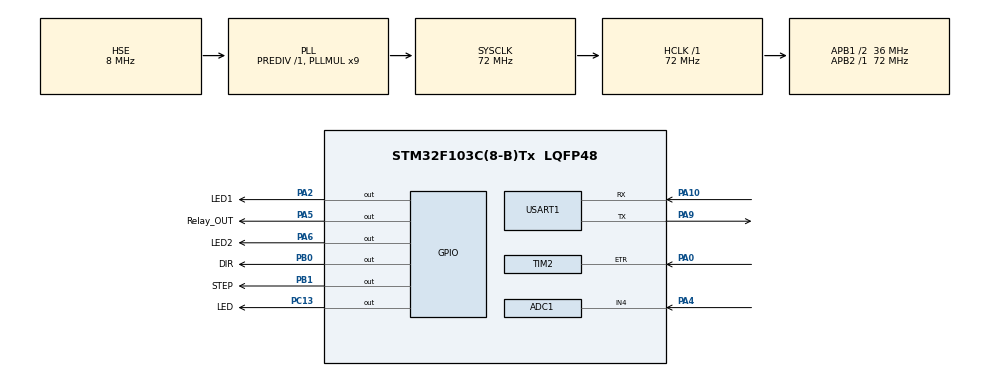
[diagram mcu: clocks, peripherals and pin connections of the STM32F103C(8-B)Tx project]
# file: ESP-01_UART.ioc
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ADC1.Channel-1\#ChannelRegularConversion=ADC_CHANNEL_4
ADC1.ContinuousConvMode=DISABLE
ADC1.NbrOfConversionFlag=1
ADC1.Rank-1\#ChannelRegularConversion=1
ADC1.SamplingTime-1\#ChannelRegularConversion=ADC_SAMPLETIME_1CYCLE_5
ADC1.master=1
Dma.Request0=USART1_TX
Dma.USART1_TX.0.Direction=DMA_MEMORY_TO_PERIPH
Dma.USART1_TX.0.Instance=DMA1_Channel4
Dma.USART1_TX.0.MemDataAlignment=DMA_MDATAALIGN_BYTE
Dma.USART1_TX.0.MemInc=DMA_MINC_ENABLE
Dma.USART1_TX.0.Mode=DMA_NORMAL
Dma.USART1_TX.0.PeriphDataAlignment=DMA_PDATAALIGN_BYTE
Dma.USART1_TX.0.PeriphInc=DMA_PINC_DISABLE
Dma.USART1_TX.0.Priority=DMA_PRIORITY_MEDIUM
FREERTOS.BinarySemaphores01=myBinarySem01,Dynamic,NULL
FREERTOS.Queues01=myQueue01,16,uint8_t,0,Dynamic,NULL,NULL;myQueue02,16,uint8_t,0,Dynamic,NULL,NULL
FREERTOS.Tasks01=defaultTask,24,128,StartDefaultTask,Default,NULL,Dynamic,NULL,NULL;myTaskUART,24,128,StartTaskUART,Default,NULL,Dynamic,NULL,NULL;myTaskMotor,24,128,StartTaskMOTOR,Default,NULL,Dynamic,NULL,NULL;myTaskPMT,24,128,StartTaskPMT,Default,NULL,Dynamic,NULL,NULL
FREERTOS.configCHECK_FOR_STACK_OVERFLOW=2
FREERTOS.configTOTAL_HEAP_SIZE=10000
FREERTOS.configUSE_NEWLIB_REENTRANT=1
Mcu.Family=STM32F1
Mcu.Name=STM32F103C(8-B)Tx
Mcu.Package=LQFP48
NVIC.ADC1_2_IRQn=true\:5\:0\:false\:false\:true\:true\:true\:true
NVIC.DMA1_Channel4_IRQn=true\:5\:0\:false\:false\:true\:true\:false\:true
NVIC.PriorityGroup=NVIC_PRIORITYGROUP_4
NVIC.TIM1_UP_IRQn=true\:5\:0\:false\:false\:true\:true\:true\:true
NVIC.TIM4_IRQn=true\:15\:0\:false\:false\:true\:false\:false\:true
NVIC.TimeBase=TIM4_IRQn
NVIC.TimeBaseIP=TIM4
NVIC.USART1_IRQn=true\:5\:0\:false\:false\:true\:true\:true\:true
PA0-WKUP.Signal=S_TIM2_CH1_ETR
PA10.Mode=Asynchronous
PA10.Signal=USART1_RX
PA13.Mode=Serial_Wire
PA13.Signal=SYS_JTMS-SWDIO
PA14.Mode=Serial_Wire
PA14.Signal=SYS_JTCK-SWCLK
PA2.GPIO_Label=LED1
PA2.GPIO_PuPd=GPIO_PULLDOWN
PA2.Signal=GPIO_Output
PA4.Signal=ADCx_IN4
PA5.GPIO_Label=Relay_OUT
PA5.GPIO_PuPd=GPIO_PULLDOWN
PA5.Signal=GPIO_Output
PA6.GPIO_Label=LED2
PA6.GPIO_PuPd=GPIO_PULLDOWN
PA6.Signal=GPIO_Output
PA9.Mode=Asynchronous
PA9.Signal=USART1_TX
PB0.GPIO_Label=DIR
PB0.Signal=GPIO_Output
PB1.GPIO_Label=STEP
PB1.Signal=GPIO_Output
PC13-TAMPER-RTC.GPIO_Label=LED
PC13-TAMPER-RTC.Signal=GPIO_Output
PD0-OSC_IN.Mode=HSE-External-Oscillator
PD0-OSC_IN.Signal=RCC_OSC_IN
PD1-OSC_OUT.Mode=HSE-External-Oscillator
PD1-OSC_OUT.Signal=RCC_OSC_OUT
ProjectManager.HeapSize=0x200
ProjectManager.StackSize=0x400
ProjectManager.TargetToolchain=STM32CubeIDE
RCC.ADCPresc=RCC_ADCPCLK2_DIV6
RCC.AHBFreq_Value=72000000
RCC.APB1CLKDivider=RCC_HCLK_DIV2
RCC.APB1Freq_Value=36000000
RCC.APB1TimFreq_Value=72000000
RCC.APB2Freq_Value=72000000
RCC.APB2TimFreq_Value=72000000
RCC.HCLKFreq_Value=72000000
RCC.PLLMUL=RCC_PLL_MUL9
RCC.PLLSourceVirtual=RCC_PLLSOURCE_HSE
RCC.SYSCLKFreq_VALUE=72000000
RCC.SYSCLKSource=RCC_SYSCLKSOURCE_PLLCLK
RCC.USBFreq_Value=72000000
SH.ADCx_IN4.0=ADC1_IN4,IN4
SH.S_TIM2_CH1_ETR.0=TIM2_ETR,ClockSourceETR_Mode2
TIM1.Period=10000
TIM1.Prescaler=1000
TIM1.TIM_MasterOutputTrigger=TIM_TRGO_ENABLE
TIM2.TIM_MasterOutputTrigger=TIM_TRGO_UPDATE
USART1.VirtualMode=VM_ASYNC
VP_FREERTOS_VS_CMSIS_V2.Mode=CMSIS_V2
VP_SYS_VS_tim4.Mode=TIM4
VP_TIM1_VS_ClockSourceINT.Mode=Internal
VP_TIM2_VS_ClockSourceITR.Mode=TriggerSource_ITR0
VP_TIM2_VS_ControllerModeGated.Mode=Gated Mode
VP_TIM3_VS_ClockSourceITR.Mode=TriggerSource_ITR1
VP_TIM3_VS_ControllerModeClock.Mode=Clock Mode
board=custom

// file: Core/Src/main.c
#include "main.h"
#include "cmsis_os.h"
#include "adc.h"
#include "tim.h"
#include "usart.h"
#include "dma.h"
#include "gpio.h"

void SystemClock_Config(void);
void MX_FREERTOS_Init(void);

int main(void)
{
  HAL_Init();
  SystemClock_Config();
  MX_GPIO_Init();
  MX_USART1_UART_Init();
  MX_ADC1_Init();
  MX_TIM1_Init();
  MX_TIM2_Init();
  MX_TIM3_Init();

  osKernelInitialize();
  // инициализация FreeTos
  MX_FREERTOS_Init();
  osKernelStart();
}

void SystemClock_Config(void)
{
  RCC_OscInitTypeDef RCC_OscInitStruct = {0};
  RCC_ClkInitTypeDef RCC_ClkInitStruct = {0};
  RCC_PeriphCLKInitTypeDef PeriphClkInit = {0};

  RCC_OscInitStruct.OscillatorType = RCC_OSCILLATORTYPE_HSE;
  RCC_OscInitStruct.HSEState = RCC_HSE_ON;
  RCC_OscInitStruct.HSEPredivValue = RCC_HSE_PREDIV_DIV1;
  RCC_OscInitStruct.HSIState = RCC_HSI_ON;
  RCC_OscInitStruct.PLL.PLLState = RCC_PLL_ON;
  RCC_OscInitStruct.PLL.PLLSource = RCC_PLLSOURCE_HSE;
  RCC_OscInitStruct.PLL.PLLMUL = RCC_PLL_MUL9;
  if (HAL_RCC_OscConfig(&RCC_OscInitStruct) != HAL_OK)
  {
    Error_Handler();
  }
  RCC_ClkInitStruct.ClockType = RCC_CLOCKTYPE_HCLK | RCC_CLOCKTYPE_SYSCLK | RCC_CLOCKTYPE_PCLK1 | RCC_CLOCKTYPE_PCLK2;
  RCC_ClkInitStruct.SYSCLKSource = RCC_SYSCLKSOURCE_PLLCLK;
  RCC_ClkInitStruct.AHBCLKDivider = RCC_SYSCLK_DIV1;
  RCC_ClkInitStruct.APB1CLKDivider = RCC_HCLK_DIV2;
  RCC_ClkInitStruct.APB2CLKDivider = RCC_HCLK_DIV1;

  if (HAL_RCC_ClockConfig(&RCC_ClkInitStruct, FLASH_LATENCY_2) != HAL_OK)
  {
    Error_Handler();
  }
  PeriphClkInit.PeriphClockSelection = RCC_PERIPHCLK_ADC;
  PeriphClkInit.AdcClockSelection = RCC_ADCPCLK2_DIV6;
  if (HAL_RCCEx_PeriphCLKConfig(&PeriphClkInit) != HAL_OK)
  {
    Error_Handler();
  }
}

void HAL_UART_TxCpltCallback(UART_HandleTypeDef *huart)
{
          if(huart == &huart1)
          {
                  // можно установить какой-то флаг, сообщающий об окончании отправки
          }
}

void Error_Handler(void)
{
  __disable_irq();
  while (1)
  {
  }
}

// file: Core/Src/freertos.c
#include "FreeRTOS.h"
#include "task.h"
#include "main.h"
#include "cmsis_os.h"
#include "CParser.h"
#include "RequestResponseParser.h"
#include "TypeStruct.h"
#include "queue.h"
#include "tim.h"
#include "UartDtoService.h"
/*
 * Глобальное состояние устройства в данный момент
 */
struct GlobalStateStruct globalState;
struct GlobalStateStruct pauseState;
bool globalStopFlag = false;
bool globalPauseFlag = false;
void resetGlobalState(){
	globalStopFlag = false;
	globalPauseFlag = false;
	globalState.isExistActiveAction = false;

	globalState.typeStruct.subType[0] = '0';
	globalState.typeStruct.subType[1] = '0';
	globalState.typeStruct.type[0] = '0';
	globalState.typeStruct.type[1] = '0';

	globalState.changePositionStruct.dir = false;
	globalState.changePositionStruct.id = 0;
	globalState.changePositionStruct.way = 0;

	globalState.detectAmperageRangeStruct.id = 0;
	globalState.detectAmperageRangeStruct.dir = false;
	globalState.detectAmperageRangeStruct.way = 0;
	globalState.detectAmperageRangeStruct.step = 0;
	globalState.detectAmperageRangeStruct.count = 0;
	globalState.detectAmperageRangeStruct.cur = 0;
	globalState.detectAmperageRangeStruct.speed = 0;

	globalState.detectAmperageTimeStruct.id = 0;
	globalState.detectAmperageTimeStruct.count = 0;
	globalState.detectAmperageTimeStruct.pointCount = 0;
	globalState.detectAmperageTimeStruct.currentPointCount = 0;
	globalState.detectAmperageTimeStruct.freq = 0;
}

void copyGlobalStateToPause(struct GlobalStateStruct from){
	pauseState = from;
}

void copyGlobalStateFromPause(struct GlobalStateStruct from){
	globalState = from;
	globalState.isExistActiveAction = false;
}

osThreadId_t myTaskUARTHandle;
const osThreadAttr_t myTaskUART_attributes = { .name = "myTaskUART",
		.stack_size = 128 * 4, .priority = (osPriority_t) osPriorityNormal, };
/* Definitions for myTaskMotor */

osThreadId_t myTaskMotorHandle;
const osThreadAttr_t myTaskMotor_attributes = { .name = "myTaskMotor",
		.stack_size = 128 * 4, .priority = (osPriority_t) osPriorityNormal, };
/* Definitions for myTaskPMT */

osThreadId_t myTaskPMTHandle;
const osThreadAttr_t myTaskPMT_attributes = { .name = "myTaskPMT", .stack_size =
		128 * 4, .priority = (osPriority_t) osPriorityNormal, };

/* Definitions for myQueue01 */
osMessageQueueId_t myQueue01Handle;
const osMessageQueueAttr_t myQueue01_attributes = { .name = "myQueue01" };

/* Definitions for myQueue02 */
osMessageQueueId_t myQueue02Handle;
const osMessageQueueAttr_t myQueue02_attributes = { .name = "myQueue02" };

/* Definitions for myBinarySem01 */
osSemaphoreId_t myBinarySem01Handle;
const osSemaphoreAttr_t myBinarySem01_attributes = { .name = "myBinarySem01" };

void StartDefaultTask(void *argument);
void StartTaskUART(void *argument);
void StartTaskMOTOR(void *argument);
void StartTaskPMT(void *argument);

void MX_FREERTOS_Init(void); /* (MISRA C 2004 rule 8.1) */

void vApplicationStackOverflowHook(xTaskHandle xTask, signed char *pcTaskName);

void vApplicationStackOverflowHook(xTaskHandle xTask, signed char *pcTaskName) {
	/* Run time stack overflow checking is performed if
	 configCHECK_FOR_STACK_OVERFLOW is defined to 1 or 2. This hook function is
	 called if a stack overflow is detected. */
}

void MX_FREERTOS_Init(void) {

	myBinarySem01Handle = osSemaphoreNew(1, 1, &myBinarySem01_attributes);

	myQueue01Handle = osMessageQueueNew(16, sizeof(uint8_t),&myQueue01_attributes);
	myQueue02Handle = osMessageQueueNew(16, sizeof(uint8_t),&myQueue02_attributes);

	myTaskUARTHandle = osThreadNew(StartTaskUART, NULL, &myTaskUART_attributes);
	myTaskMotorHandle = osThreadNew(StartTaskMOTOR, NULL, &myTaskMotor_attributes);
	myTaskPMTHandle = osThreadNew(StartTaskPMT, NULL, &myTaskPMT_attributes);
}

/*
 * Задача для чтения сообщения из UART
 */
void StartTaskUART(void *argument) {
	for (;;) {
		// 1 - получили символ и проверии, что это стартовый
		bool isStartReadUart = receiveSymbol() == OK && checkStartOfMessage() == OK;
		if (!isStartReadUart) {
			//SentError((uint8_t*) __FILE__, __LINE__);
			continue;
		}

		// 2 - читаем остальную часть строки в receiveMessageText
		char receiveMessageText[200];
		bool receiveMessageResult = receiveMessage(receiveMessageText) == OK;
		if (!receiveMessageResult) {
			SentError((uint8_t*) __FILE__, __LINE__);
			continue;
		}

		// 3 - записываем новое глобальное состояние систему
		struct GlobalStateStruct parseMessageResult = getNewGlobalState(receiveMessageText);
		clean(receiveMessageText);

		// 4 - если это проверка состояния сразу отвечае
		if (isCheckState(parseMessageResult.typeStruct))
		{
			SentResultActionResponse(parseMessageResult.typeStruct, "", 1);
			continue;
		}

		// 5 - если это команда стоп
		if (isStopMeasure(parseMessageResult.typeStruct))
		{
			globalStopFlag = true;
			continue;
		}

		// 6 - если это команда паузы
		if (isPauseMeasure(parseMessageResult.typeStruct))
		{
			globalPauseFlag = true;
			continue;
		}

		// 6 - если это команда продолжения после паузы
		if (isContinueMeasure(parseMessageResult.typeStruct))
		{
			copyGlobalStateFromPause(pauseState);
			continue;
		}

		globalState = parseMessageResult;

		osDelay(1);
	}
}

// сколько всего шим сигналов
uint32_t totalRate = 0;
uint32_t currentRate = 0;
// в каком сейчас состоянии пин
bool isSetMotorPin = false;
// счетчики увеличения скорости (вниз вверх)
uint8_t speedChangeFactor = 0;
uint8_t speedDownChangeFactor = 0;
// сколько раз изменилось положение пина
uint8_t countSetPin = 0;

void StartTaskMOTOR(void *argument) {
	for (;;) {
		// 1 - дожидаемся пока придем команда для изменения положения шагового двигателя
		if(isChangePosition(globalState.typeStruct) && !globalState.isExistActiveAction){
			speedChangeFactor = 0;
			speedDownChangeFactor = 0;
			isSetMotorPin = false;
			totalRate = 0;
			currentRate = 0;
			globalState.isExistActiveAction = true;

			// 2 - устанавливаем вращение
			// true - часовая / false - против часовой
			if(globalState.changePositionStruct.dir){
				HAL_GPIO_WritePin(MOTOR_Port, DIR_Pin, GPIO_PIN_RESET);
			} else {
				HAL_GPIO_WritePin(MOTOR_Port, DIR_Pin, GPIO_PIN_SET);
			}

			// 3 - определяем кол-во шим сигналов для вращения
			totalRate = globalState.changePositionStruct.way * 10;
			currentRate = globalState.changePositionStruct.way * 10;
			HAL_TIM_Base_Start_IT(&htim1);
		}

		osDelay(1);
	}
}

// логика измерения с усреднением
uint32_t measureAmperageRangeItem(uint16_t count){
	uint32_t ADC_value = 0;
	HAL_ADC_Start(&hadc1);
	//HAL_ADC_PollForConversion(&hadc1, 100);
	for (int i = 0; i < count; i++) {

		if(ADC_value == 0){
			ADC_value = HAL_ADC_GetValue(&hadc1);
	    }else {
			ADC_value = (HAL_ADC_GetValue(&hadc1) + ADC_value) / 2;
		}
	}
	HAL_ADC_Stop(&hadc1);
	return ADC_value;
}

void StartTaskPMT(void *argument) {
	/* USER CODE BEGIN StartTaskPMT */

	/* Infinite loop */
	for (;;) {
		if(globalState.isExistActiveAction){
			continue;
		}

		//ток на промежутке
		if (isDetectAmperageRange(globalState.typeStruct))
		{
			// 0 - отправляем команду о начале измерения
			SentResultActionResponse(globalState.typeStruct, "", 1);
			globalState.isExistActiveAction = true;

			// что бы 1 точка успела собрать с ацп сигнал сразу
			uint32_t start = measureAmperageRangeItem(3);

			// 1 - выполняем измерение в 1 точке
			SendResponseMeasure(
					globalState.detectAmperageRangeStruct.id,
					globalState.detectAmperageRangeStruct.cur,
					measureAmperageRangeItem(globalState.detectAmperageRangeStruct.count));

			// 2 - задаем направление последующих измерений
			if(globalState.detectAmperageRangeStruct.dir){
				HAL_GPIO_WritePin(MOTOR_Port, DIR_Pin, GPIO_PIN_RESET);
			} else {
				HAL_GPIO_WritePin(MOTOR_Port, DIR_Pin, GPIO_PIN_SET);
			}

			// 3 - высчитываем сколько шагов надо совершить
			uint32_t totalMeasureWay =  globalState.detectAmperageRangeStruct.way * 10;

			// 4 - определяем на каком кол-ве сигналов надо снять измерение
			uint32_t stepCount = globalState.detectAmperageRangeStruct.step * 10;

			// 5 - задаем текущий счетчик
			uint32_t currentCount = 0;

			// 6 - запускам процесс преодаления промежутка
			for (uint32_t i = 0; i <= totalMeasureWay; i++) {
				// если пришла команда на закончить, то завершаем все действия
				if(globalStopFlag){
					i = totalMeasureWay + 1;
					continue;
				}
				// если пришла команда на паузу, то заканчиваем все, но сохраняем предыдушее состояние
				if(globalPauseFlag){
					if(globalState.detectAmperageRangeStruct.dir){
						globalState.detectAmperageRangeStruct.cur = globalState.detectAmperageRangeStruct.cur + (i / 10);
					} else {
						globalState.detectAmperageRangeStruct.cur = globalState.detectAmperageRangeStruct.cur - (i / 10);
					}

					globalState.detectAmperageRangeStruct.way = (totalMeasureWay - i + currentCount) / 10;
					copyGlobalStateToPause(globalState);
					i = totalMeasureWay + 1;
					continue;
				}
				HAL_GPIO_WritePin(MOTOR_Port, STEP_Pin, GPIO_PIN_RESET);
                osDelay(globalState.detectAmperageRangeStruct.speed);
                HAL_GPIO_WritePin(MOTOR_Port, STEP_Pin, GPIO_PIN_SET);
                osDelay(globalState.detectAmperageRangeStruct.speed);

                if(currentCount == stepCount){
                	SendResponseMeasureIT(
                			globalState.detectAmperageRangeStruct.id,
							globalState.detectAmperageRangeStruct.cur + (i / 10),
							measureAmperageRangeItem(globalState.detectAmperageRangeStruct.count)
							);
                	currentCount = 0;
                	// нм --- шаги --- ответ по x
                	// 0,01   10       1
                	// 1      1000     100
                	// 10     10000    1000
                }
                currentCount += 1;
			}

		//	SentResultActionResponse(globalState.typeStruct, "", 1);
			if(globalPauseFlag == false){
				// финальный замер
//				SendResponseMeasure(
//					globalState.detectAmperageRangeStruct.id,
//					globalState.detectAmperageRangeStruct.cur + totalMeasureWay,
//					measureAmperageRangeItem(globalState.detectAmperageRangeStruct.count)
//				);

				// 7 - сообщяем об окончании процесса измерения
				osDelay(10);
				SendResponseStop(globalState.detectAmperageRangeStruct.id);
			}

			// 8 - сбрасываем состояния в конце измерения
			resetGlobalState();
		}

		// ток в точке от времени
		if (isDetectAmperageTime(globalState.typeStruct))
		{
			// 0 - отправляем команду о начале измерения
			SentResultActionResponse(globalState.typeStruct, "", 1);

			globalState.isExistActiveAction = true;
			// что бы 1 точка успела собрать с ацп сигнал сразу
			uint32_t start = measureAmperageRangeItem(3);

			// 6 - запускам процесс преодаления промежутка
			for (uint32_t i = globalState.detectAmperageTimeStruct.currentPointCount; i < globalState.detectAmperageTimeStruct.pointCount; i++) {
				// если пришла команда на закончить, то завершаем все действия
				if(globalStopFlag){
					break;
				}

				// если пришла команда на паузу, то заканчиваем все, но сохраняем предыдушее состояние
				if(globalPauseFlag){
					globalState.detectAmperageTimeStruct.currentPointCount = i;
					copyGlobalStateToPause(globalState);
					break;
				}

			    osDelay(globalState.detectAmperageTimeStruct.freq);

			    SendResponseMeasure(
			    	globalState.detectAmperageTimeStruct.id,
			    	i,
			    	measureAmperageRangeItem(globalState.detectAmperageTimeStruct.count)
			    );
			}

			if(globalPauseFlag == false){
				// 7 - сообщяем об окончании процесса измерения
				SendResponseStop(globalState.detectAmperageTimeStruct.id);
			}

			// 8 - сбрасываем состояния в конце измерения
			resetGlobalState();
		}

		// счет на промежутке
		if (isDetectTickRange(globalState.typeStruct))
		{
			HAL_TIM_Base_Start(&htim2);
			HAL_TIM_Base_Start(&htim3);
			HAL_TIM_Base_Start_IT(&htim1);
			sprintf(PMT_State_, "PMT_TIM=%d%c", freq_, '\0');
			if (HAL_UART_Transmit(&huart1, (uint8_t *)&PMT_State_, strlen(PMT_State_), 1000) == HAL_OK)
			{
			}
		}

		// счет в точке от времени
		if (isDetectTickTime(globalState.typeStruct))
		{
		}

		osDelay(1);
	}
	/* USER CODE END StartTaskPMT */
}

// начальная скорость
const uint32_t currentSpeed = 10000;
// рубикон ускорения/замедления
const uint16_t changeSpeedLine = 6000;
// шаг изменения скорости по нм
const uint8_t speedChangeStep = 100;
// шаг изменения скорости по сигналу
const uint8_t speedChangeStepCount = 130;
//Функция-обработчик прерываний таймеров
void HAL_TIM_PeriodElapsedCallback(TIM_HandleTypeDef *htim)
{
	 /* USER CODE BEGIN Callback 0 */
	// логика вращения шаговым двигателем
    if (htim->Instance == TIM1) {
    	// если прошли путь или получили глобальную команду на остановку
    	if(currentRate == 0 || globalStopFlag){
    		HAL_TIM_Base_Stop_IT(&htim1);
			__HAL_TIM_SET_PRESCALER(&htim1, currentSpeed);

    		// 5 - отправляем состояние ответа по UART---------------
    		SentResultActionResponse(globalState.typeStruct, "", 1);

    		// ------------------------------------------------------

    		// 6 - сбрасываем команду -------------------------------
    		resetGlobalState();
    		// ------------------------------------------------------
    		speedChangeFactor = 0;
    		speedDownChangeFactor = 0;
    		totalRate = 0;
    		currentRate = 0;
    		return;
    	}

    	if(isSetMotorPin){
    		HAL_GPIO_WritePin(MOTOR_Port, STEP_Pin, GPIO_PIN_RESET);
    		isSetMotorPin = false;
    		countSetPin += 1;
    	} else {
    		HAL_GPIO_WritePin(MOTOR_Port, STEP_Pin, GPIO_PIN_SET);
    		isSetMotorPin = true;
    		countSetPin += 1;
    	}

    	if(countSetPin == 2){
    		currentRate -= 1;
    		countSetPin = 0;
    	}

    	if(totalRate > (changeSpeedLine * 2 + 100)){
    		if(currentRate == (totalRate - (speedChangeStep * speedChangeFactor)) && currentRate >= totalRate - changeSpeedLine){
    			__HAL_TIM_SET_PRESCALER(&htim1, currentSpeed - speedChangeStepCount - (speedChangeStepCount * speedChangeFactor));
    		    speedChangeFactor += 1;
    		    return;
    		}

    		 if(currentRate == (changeSpeedLine - (speedChangeStep * speedDownChangeFactor)) && currentRate <= changeSpeedLine){
    			speedChangeFactor -= 1;
    			__HAL_TIM_SET_PRESCALER(&htim1, currentSpeed - (speedChangeStepCount * speedChangeFactor));
    		    speedDownChangeFactor += 1;
    		    return;
    		}

    		return;
    	}

		return;
    }

	if (htim == &htim1) {
		uint16_t TIM2_count = __HAL_TIM_GET_COUNTER(&htim2);
		//Значение счетчика таймера TIM2
		//(Количество последних подсчитанных
		//импульсов к моменту прерывания)
		uint16_t TIM2_overflows = __HAL_TIM_GET_COUNTER(&htim3);
		//Значение счетчика таймера TIM3
		freq_ = TIM2_count + (TIM2_overflows * 65535) + TIM2_overflows;
        //Вычисление частоты
        //Установка флага окончания измерения частоты
		__HAL_TIM_SET_COUNTER(&htim2, 0x0000);
        //Обнуление счетчиков таймеров 2 и 3
		__HAL_TIM_SET_COUNTER(&htim3, 0x0000);
	}
}
